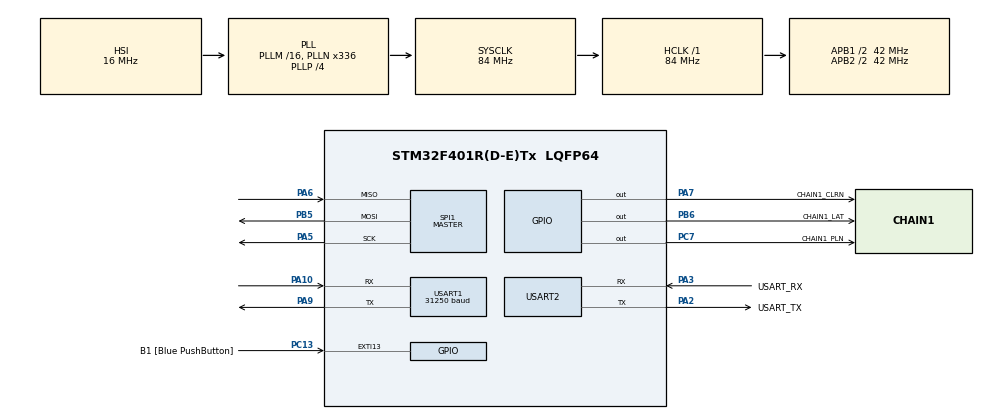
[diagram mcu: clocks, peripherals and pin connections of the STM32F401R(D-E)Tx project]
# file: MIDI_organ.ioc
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Mcu.Family=STM32F4
Mcu.Name=STM32F401R(D-E)Tx
Mcu.Package=LQFP64
NVIC.EXTI15_10_IRQn=true\:0\:0\:false\:false\:true\:true\:true
NVIC.PriorityGroup=NVIC_PRIORITYGROUP_0
PA10.Mode=Asynchronous
PA10.Signal=USART1_RX
PA13.GPIO_Label=TMS
PA13.Signal=SYS_JTMS-SWDIO
PA14.GPIO_Label=TCK
PA14.Signal=SYS_JTCK-SWCLK
PA2.GPIO_Label=USART_TX
PA2.GPIO_Mode=GPIO_MODE_AF_PP
PA2.GPIO_PuPd=GPIO_NOPULL
PA2.GPIO_Speed=GPIO_SPEED_FREQ_LOW
PA2.Mode=Asynchronous
PA2.Signal=USART2_TX
PA3.GPIO_Label=USART_RX
PA3.GPIO_Mode=GPIO_MODE_AF_PP
PA3.GPIO_PuPd=GPIO_NOPULL
PA3.GPIO_Speed=GPIO_SPEED_FREQ_LOW
PA3.Mode=Asynchronous
PA3.Signal=USART2_RX
PA5.Mode=Full_Duplex_Master
PA5.Signal=SPI1_SCK
PA6.Mode=Full_Duplex_Master
PA6.Signal=SPI1_MISO
PA7.GPIO_Label=CHAIN1_CLRN
PA7.Signal=GPIO_Output
PA9.GPIO_ModeDefaultPP=GPIO_MODE_AF_OD
PA9.Mode=Asynchronous
PA9.Signal=USART1_TX
PB3.GPIO_Label=SWO
PB3.Signal=SYS_JTDO-SWO
PB5.Mode=Full_Duplex_Master
PB5.Signal=SPI1_MOSI
PB6.GPIO_Label=CHAIN1_LAT
PB6.Signal=GPIO_Output
PC13-ANTI_TAMP.GPIO_Label=B1 [Blue PushButton]
PC13-ANTI_TAMP.GPIO_ModeDefaultEXTI=GPIO_MODE_IT_FALLING
PC13-ANTI_TAMP.GPIO_PuPd=GPIO_NOPULL
PC13-ANTI_TAMP.Signal=GPXTI13
PC14-OSC32_IN.Signal=RCC_OSC32_IN
PC15-OSC32_OUT.Signal=RCC_OSC32_OUT
PC7.GPIO_Label=CHAIN1_PLN
PC7.Signal=GPIO_Output
PH0\ -\ OSC_IN.Signal=RCC_OSC_IN
PH1\ -\ OSC_OUT.Signal=RCC_OSC_OUT
ProjectManager.HeapSize=0x200
ProjectManager.StackSize=0x400
ProjectManager.TargetToolchain=STM32CubeIDE
RCC.AHBFreq_Value=84000000
RCC.APB1CLKDivider=RCC_HCLK_DIV2
RCC.APB1Freq_Value=42000000
RCC.APB1TimFreq_Value=84000000
RCC.APB2CLKDivider=RCC_HCLK_DIV2
RCC.APB2Freq_Value=42000000
RCC.APB2TimFreq_Value=84000000
RCC.CortexFreq_Value=84000000
RCC.HCLKFreq_Value=84000000
RCC.HSE_VALUE=8000000
RCC.HSI_VALUE=16000000
RCC.LSE_VALUE=32768
RCC.PLLN=336
RCC.PLLP=RCC_PLLP_DIV4
RCC.PLLQ=7
RCC.SYSCLKFreq_VALUE=84000000
RCC.SYSCLKSource=RCC_SYSCLKSOURCE_PLLCLK
RCC.VCOOutputFreq_Value=336000000
SPI1.Direction=SPI_DIRECTION_2LINES
SPI1.Mode=SPI_MODE_MASTER
SPI1.VirtualType=VM_MASTER
USART1.BaudRate=31250
USART1.VirtualMode=VM_ASYNC
USART2.VirtualMode=VM_ASYNC
board=NUCLEO-F401RE

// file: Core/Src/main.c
/* USER CODE BEGIN Header */
/**
  ******************************************************************************
  * @file           : main.c
  * @brief          : Main program body
  ******************************************************************************
  * @attention
  *
  * <h2><center>&copy; Copyright (c) 2020 STMicroelectronics.
  * All rights reserved.</center></h2>
  *
  * This software component is licensed by ST under BSD 3-Clause license,
  * the "License"; You may not use this file except in compliance with the
  * License. You may obtain a copy of the License at:
  *                        opensource.org/licenses/BSD-3-Clause
  *
  ******************************************************************************
  */
/* USER CODE END Header */
#include "main.h"
#include "spi.h"
#include "usart.h"
#include "gpio.h"

/* USER CODE BEGIN Includes */
#include <stdio.h>
#include "scanchain.h"
#include "midi.h"
#include "string.h"
/* USER CODE END Includes */

/* USER CODE BEGIN PD */
#define MAX_EVENTS 16
/* USER CODE END PD */

/* USER CODE BEGIN PV */
static const struct scanchain_pindef chain_table[] = {
		{
				.chain_length = 9,
				.clrn_port = CHAIN1_CLRN_GPIO_Port,
				.clrn_pin = CHAIN1_CLRN_Pin,
				.lat_port = CHAIN1_LAT_GPIO_Port,
				.lat_pin = CHAIN1_LAT_Pin,
				.pln_port = CHAIN1_PLN_GPIO_Port,
				.pln_pin = CHAIN1_PLN_Pin,
				.hspi = &hspi1
		},
		{
				0,0,0,0,0,0,0,0
		}
};

uint8_t chain1_old[16];

/* Ghetto semaphore */
static volatile int flag;
/* USER CODE END PV */

void SystemClock_Config(void);
/* USER CODE BEGIN PFP */
int midi_scanchain(void);

/* USER CODE END PFP */

/* USER CODE BEGIN 0 */
int __io_putchar(int ch)
{
	unsigned char c = ch;
	HAL_UART_Transmit(&huart2, &c, 1, 10);

	return 0;
}

void HAL_GPIO_EXTI_Callback(uint16_t pin)
{
	if (pin == B1_Pin) {
		/* Set ghetto semaphore */
		flag = 1;
	}
}

/* USER CODE END 0 */

int main(void)
{

  /* MCU Configuration--------------------------------------------------------*/

  /* Reset of all peripherals, Initializes the Flash interface and the Systick. */
  HAL_Init();

  /* Configure the system clock */
  SystemClock_Config();

  /* Initialize all configured peripherals */
  MX_GPIO_Init();
  MX_SPI1_Init();
  MX_USART2_UART_Init();
  MX_USART1_UART_Init();
  /* USER CODE BEGIN 2 */
  printf("Hello, world!\n");
  printf("Build: " __DATE__ " " __TIME__ "\n");

  printf("Initializing chains\n");
  int nchains = scanchain_init_all(chain_table);
  if (nchains > 0) {
	  printf("Initialized %d chain(s).\n", nchains);
  } else {
	  printf("Error with chain definitions or initialization!\n");
	  return -1;
  }

  /* USER CODE END 2 */

  /* Infinite loop */
  while (1)
  {

    /* USER CODE BEGIN 3 */
	 // printf("Waiting on interrupt event...\n");

	  while (flag == 0) {
		  HAL_Delay(50);
	  }

	  printf("Scanning...");
	  uint8_t scanbuf[16];
	  HAL_StatusTypeDef ret = scanchain_scan(&chain_table[0], scanbuf);
	  if (ret == HAL_OK) {
		  printf("Success!\n");
	  } else {
		  printf("Failed! (%d)\n", ret);
	  }
	  printf("CHAIN 1: ");
	  for (int i = 0; i < chain_table[0].chain_length; i++) {
		  /* Also invert the values for MIDI logic */
		  scanbuf[i] = scanbuf[i] ^ 0xff;

		  printf("%02X ", scanbuf[i]);
	  };
	  printf("\n");

	  struct midi_event events[MAX_EVENTS];
	  int nevents = midi_getevents(chain1_old, scanbuf, chain_table[0].chain_length, events, MAX_EVENTS);
	  memcpy(chain1_old, scanbuf, chain_table[0].chain_length);

	  if (nevents) {
		  uint8_t midibuf[MAX_EVENTS * 3];
		  printf("EVENTS: \n");
		  for (int i = 0; i < nevents; i++) {
			  /* Remap note numbers */
			  events[i].number = notemap1[events[i].number];
			  if (events[i].type == MIDI_NOTE_ON) {
				  printf("\t - NOTE_ON(%d)\n", events[i].number);
				  midibuf[i * 3] = 0x91;
				  midibuf[(i * 3) + 1] = events[i].number;
				  midibuf[(i * 3) + 2] = 0x7f;
			  } else if (events[i].type == MIDI_NOTE_OFF) {
				  printf("\t - NOTE_OFF(%d)\n", events[i].number);
				  midibuf[i * 3] = 0x81;
				  midibuf[(i * 3) + 1] = events[i].number;
				  midibuf[(i * 3) + 2] = 0x7f;
			  } else {
				  printf("\t - UNKNOWN(%d)\n", events[i].number);
			  }
		  }
		  printf("MIDI Buffer to Transmit: ");
		  for (int i = 0; i < nevents * 3; i++) {
			  printf("%02X ", midibuf[i]);
		  }
		  printf("\n");
		  ret = HAL_UART_Transmit(&huart1, midibuf, nevents * 3, 100);
		  if (ret) {
			  printf("UART Transmit Error %d\n", ret);
		  }
	  }

	  /* Free run */
	  //flag = 0;
  }
  /* USER CODE END 3 */
}

void SystemClock_Config(void)
{
  RCC_OscInitTypeDef RCC_OscInitStruct = {0};
  RCC_ClkInitTypeDef RCC_ClkInitStruct = {0};

  /** Configure the main internal regulator output voltage
  */
  __HAL_RCC_PWR_CLK_ENABLE();
  __HAL_PWR_VOLTAGESCALING_CONFIG(PWR_REGULATOR_VOLTAGE_SCALE2);
  /** Initializes the RCC Oscillators according to the specified parameters
  * in the RCC_OscInitTypeDef structure.
  */
  RCC_OscInitStruct.OscillatorType = RCC_OSCILLATORTYPE_HSI;
  RCC_OscInitStruct.HSIState = RCC_HSI_ON;
  RCC_OscInitStruct.HSICalibrationValue = RCC_HSICALIBRATION_DEFAULT;
  RCC_OscInitStruct.PLL.PLLState = RCC_PLL_ON;
  RCC_OscInitStruct.PLL.PLLSource = RCC_PLLSOURCE_HSI;
  RCC_OscInitStruct.PLL.PLLM = 16;
  RCC_OscInitStruct.PLL.PLLN = 336;
  RCC_OscInitStruct.PLL.PLLP = RCC_PLLP_DIV4;
  RCC_OscInitStruct.PLL.PLLQ = 7;
  if (HAL_RCC_OscConfig(&RCC_OscInitStruct) != HAL_OK)
  {
    Error_Handler();
  }
  /** Initializes the CPU, AHB and APB buses clocks
  */
  RCC_ClkInitStruct.ClockType = RCC_CLOCKTYPE_HCLK|RCC_CLOCKTYPE_SYSCLK
                              |RCC_CLOCKTYPE_PCLK1|RCC_CLOCKTYPE_PCLK2;
  RCC_ClkInitStruct.SYSCLKSource = RCC_SYSCLKSOURCE_PLLCLK;
  RCC_ClkInitStruct.AHBCLKDivider = RCC_SYSCLK_DIV1;
  RCC_ClkInitStruct.APB1CLKDivider = RCC_HCLK_DIV2;
  RCC_ClkInitStruct.APB2CLKDivider = RCC_HCLK_DIV2;

  if (HAL_RCC_ClockConfig(&RCC_ClkInitStruct, FLASH_LATENCY_2) != HAL_OK)
  {
    Error_Handler();
  }
}

void Error_Handler(void)
{
}

/************************ (C) COPYRIGHT STMicroelectronics *****END OF FILE****/
